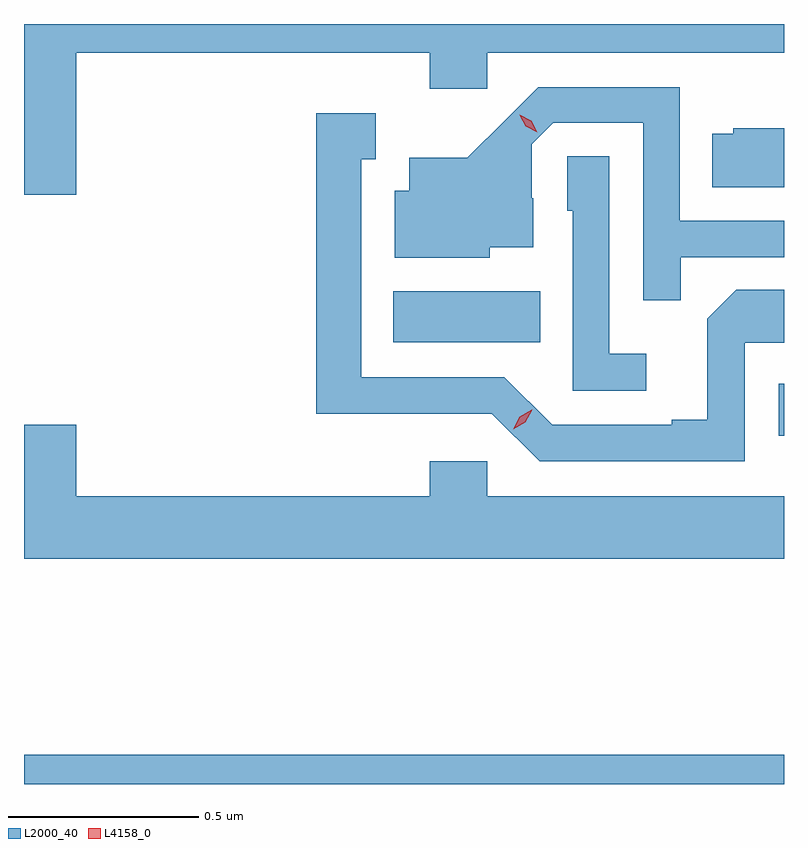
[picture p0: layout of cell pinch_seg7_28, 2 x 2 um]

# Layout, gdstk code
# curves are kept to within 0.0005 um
import gdstk
lib = gdstk.Library(unit=1e-6, precision=1e-09)
def R(c, l, rs):  # rectangles x0, y0, x1, y1
    for r in rs: c.add(gdstk.rectangle(r[:2], r[2:], *l))
def P(c, l, *ps):  # polygons
    for p in ps: c.add(gdstk.Polygon(p, *l))
L2000_40 = (2000, 40)
L4158_0 = (4158, 0)

pinch_seg7_28 = lib.new_cell('pinch_seg7_28')
R(pinch_seg7_28, L2000_40, [(1040.159,1042.647,1042.159,1042.724), (1042.145,1043.564,1042.159,1043.7), (1041.131,1043.81,1041.518,1043.944)])
P(pinch_seg7_28, L2000_40, [(1040.296,1044.572),(1041.227,1044.572),(1041.227,1044.477),(1041.378,1044.477),(1041.378,1044.572),(1042.159,1044.572),(1042.159,1044.647),(1040.159,1044.647),(1040.159,1044.198),(1040.296,1044.198)],
  [(1041.887,1044.033),(1042.159,1044.033),(1042.159,1044.129),(1041.885,1044.129),(1041.885,1044.48),(1041.512,1044.48),(1041.325,1044.295),(1041.173,1044.295),(1041.173,1044.208),(1041.134,1044.208),(1041.134,1044.032),(1041.384,1044.032),(1041.384,1044.059),(1041.499,1044.059),(1041.499,1044.188),(1041.495,1044.188),(1041.495,1044.33),(1041.552,1044.387),(1041.789,1044.387),(1041.789,1043.92),(1041.887,1043.92)],
  [(1042.056,1043.808),(1042.159,1043.808),(1042.159,1043.948),(1042.033,1043.948),(1041.957,1043.872),(1041.957,1043.605),(1041.863,1043.605),(1041.863,1043.592),(1041.549,1043.592),(1041.423,1043.718),(1041.046,1043.718),(1041.046,1044.291),(1041.085,1044.291),(1041.085,1044.412),(1040.928,1044.412),(1040.928,1043.621),(1041.168,1043.621),(1041.168,1043.622),(1041.39,1043.622),(1041.516,1043.496),(1042.056,1043.496)],
  [(1042.159,1044.373),(1042.026,1044.373),(1042.026,1044.358),(1041.97,1044.358),(1041.97,1044.218),(1042.159,1044.218)],
  [(1041.796,1043.779),(1041.699,1043.779),(1041.699,1044.299),(1041.588,1044.299),(1041.588,1044.156),(1041.603,1044.156),(1041.603,1043.682),(1041.796,1043.682)],
  [(1042.159,1043.404),(1041.378,1043.404),(1041.378,1043.497),(1041.227,1043.497),(1041.227,1043.404),(1040.296,1043.404),(1040.296,1043.593),(1040.159,1043.593),(1040.159,1043.24),(1042.159,1043.24)])
P(pinch_seg7_28, L4158_0, [(1041.51,1044.362),(1041.48,1044.378),(1041.463,1044.407),(1041.463,1044.408),(1041.463,1044.408),(1041.494,1044.392),(1041.51,1044.362),(1041.51,1044.362)],
  [(1041.446,1043.58),(1041.446,1043.581),(1041.464,1043.613),(1041.495,1043.632),(1041.496,1043.632),(1041.496,1043.632),(1041.478,1043.599),(1041.446,1043.58)])

lib.write_gds('pinch_seg7_28.gds')
